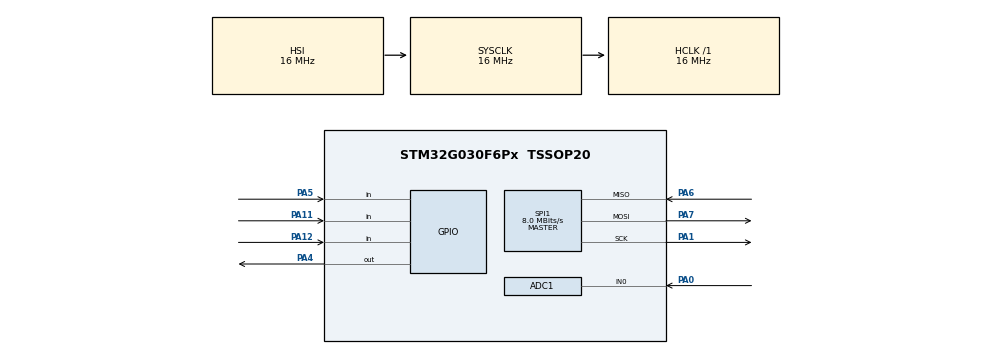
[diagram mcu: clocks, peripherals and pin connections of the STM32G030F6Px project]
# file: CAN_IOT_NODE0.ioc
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ADC1.Channel-0\#ChannelRegularConversion=ADC_CHANNEL_0
ADC1.NbrOfConversion=1
ADC1.NbrOfConversionFlag=1
ADC1.Rank-0\#ChannelRegularConversion=1
ADC1.SamplingTime-0\#ChannelRegularConversion=ADC_SAMPLINGTIME_COMMON_1
ADC1.SelectedChannel=ADC_CHANNEL_0
ADC1.master=1
Mcu.Family=STM32G0
Mcu.Name=STM32G030F6Px
Mcu.Package=TSSOP20
NVIC.ADC1_IRQn=true\:0\:0\:false\:false\:true\:true\:true\:true
NVIC.SPI1_IRQn=true\:0\:0\:false\:false\:true\:true\:true\:true
PA0.Mode=IN0
PA0.Signal=ADC1_IN0
PA1.Mode=Full_Duplex_Master
PA1.Signal=SPI1_SCK
PA11\ [PA9].GPIO_PuPd=GPIO_PULLUP
PA11\ [PA9].Signal=GPIO_Input
PA12\ [PA10].GPIO_PuPd=GPIO_PULLUP
PA12\ [PA10].Signal=GPIO_Input
PA13.Mode=Serial_Wire
PA13.Signal=SYS_SWDIO
PA14-BOOT0.Mode=Serial_Wire
PA14-BOOT0.Signal=SYS_SWCLK
PA14-BOOT0__PA15.StandardMode=true
PA4.Signal=GPIO_Output
PA5.GPIO_PuPd=GPIO_PULLUP
PA5.Signal=GPIO_Input
PA6.Mode=Full_Duplex_Master
PA6.Signal=SPI1_MISO
PA7.Mode=Full_Duplex_Master
PA7.Signal=SPI1_MOSI
PB0__PB1__PB2__PA8.StandardMode=true
PB3__PB4__PB5__PB6.StandardMode=true
PB7__PB8.StandardMode=true
PC14-OSC32_IN\ (PC14)__PB9.StandardMode=true
ProjectManager.HeapSize=0x200
ProjectManager.StackSize=0x400
ProjectManager.TargetToolchain=STM32CubeIDE
RCC.AHBFreq_Value=16000000
RCC.CortexFreq_Value=16000000
RCC.EXTERNAL_CLOCK_VALUE=12288000
RCC.HCLKFreq_Value=16000000
RCC.HSE_VALUE=8000000
RCC.HSI_VALUE=16000000
RCC.LSE_VALUE=32768
RCC.SYSCLKFreq_VALUE=16000000
RCC.VCOOutputFreq_Value=128000000
SPI1.CalculateBaudRate=8.0 MBits/s
SPI1.Direction=SPI_DIRECTION_2LINES
SPI1.Mode=SPI_MODE_MASTER
SPI1.VirtualType=VM_MASTER
board=custom

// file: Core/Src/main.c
/* USER CODE BEGIN Header */
/**
 * Project Name: INDUSTRIAL CAN IOT GATEWAY
 *
 * Controller: STM32G030F6P6
 *
 * Peripherals
 *
 		Dip-Switches->	PA5(A0) PA11(A1) PA12(A2)

 		SPI1--------->	SPI1 for MCP2515:
			 	 	 	SPI1 MOSI: PA7
                        SPI1 MISO: PA6
                        SPI1 CS:   PA4
                        SPI1 SCK:  PA1

        CAN Bus:----->	MCP2515 connected to CAN_H and CAN_L.
 *
 * Team Members: MOOLA SRIKANTH REDDY
 *               MARAM AMULYA
 *               TANDRA VASANTHA LIKITHA
 *               K LAVANYA
 *               NAGIREDDY SAI KRISHNA
 *               K SATHWIK
 *
  ******************************************************************************
  * @file           : main.c
  * @brief          : Main program body
  ******************************************************************************
  * @attention
  *
  * Copyright (c) 2024 STMicroelectronics.
  * All rights reserved.
  *
  * This software is licensed under terms that can be found in the LICENSE file
  * in the root directory of this software component.
  * If no LICENSE file comes with this software, it is provided AS-IS.
  *
  ******************************************************************************
  */
/* USER CODE END Header */
#include "main.h"

/* USER CODE BEGIN Includes */
#include "CANSPI.h"
#include "MCP2515.h"
/* USER CODE END Includes */

/* USER CODE BEGIN PD */

#define LM35_ADC_CHANNEL ADC_CHANNEL_0

/* USER CODE END PD */

ADC_HandleTypeDef hadc1;

SPI_HandleTypeDef hspi1;

/* USER CODE BEGIN PV */
uint8_t NODE_ID = 0;  // Declare NODE_ID as a variable
uCAN_MSG txMessage;     // Transmit CAN message structure
uCAN_MSG rxMessage;     // Receive CAN message structure

/* USER CODE END PV */

void SystemClock_Config(void);
static void MX_GPIO_Init(void);
static void MX_ADC1_Init(void);
static void MX_SPI1_Init(void);
/* USER CODE BEGIN PFP */

/* User-defined function prototypes */
void Node_Init(void);
void Process_CAN_Messages(void);
uint16_t Read_LM35(void);
float Convert_Temperature(uint16_t adcValue);
void Error_Handler(void);
void Read_Node_ID(void);

/* USER CODE END PFP */

int main(void)
{

  /* MCU Configuration--------------------------------------------------------*/

  /* Reset of all peripherals, Initializes the Flash interface and the Systick. */
  HAL_Init();

  /* Configure the system clock */
  SystemClock_Config();

  /* Initialize all configured peripherals */
  MX_GPIO_Init();
  MX_ADC1_Init();
  MX_SPI1_Init();
  /* USER CODE BEGIN 2 */

  //Read_Node_ID();  // Read DIP switch state at startup

  /* Initialize Node */
  Node_Init();

  /* USER CODE END 2 */

  /* Infinite loop */
  /* USER CODE BEGIN WHILE */
  while (1)
  {
	  Read_Node_ID();  // Read DIP switch state at startup

	  /* Process incoming and outgoing CAN messages */
	      Process_CAN_Messages();
    /* USER CODE END WHILE */

  }
}

void SystemClock_Config(void)
{
  RCC_OscInitTypeDef RCC_OscInitStruct = {0};
  RCC_ClkInitTypeDef RCC_ClkInitStruct = {0};

  /** Configure the main internal regulator output voltage
  */
  HAL_PWREx_ControlVoltageScaling(PWR_REGULATOR_VOLTAGE_SCALE1);

  /** Initializes the RCC Oscillators according to the specified parameters
  * in the RCC_OscInitTypeDef structure.
  */
  RCC_OscInitStruct.OscillatorType = RCC_OSCILLATORTYPE_HSI;
  RCC_OscInitStruct.HSIState = RCC_HSI_ON;
  RCC_OscInitStruct.HSIDiv = RCC_HSI_DIV1;
  RCC_OscInitStruct.HSICalibrationValue = RCC_HSICALIBRATION_DEFAULT;
  RCC_OscInitStruct.PLL.PLLState = RCC_PLL_NONE;
  if (HAL_RCC_OscConfig(&RCC_OscInitStruct) != HAL_OK)
  {
    Error_Handler();
  }

  /** Initializes the CPU, AHB and APB buses clocks
  */
  RCC_ClkInitStruct.ClockType = RCC_CLOCKTYPE_HCLK|RCC_CLOCKTYPE_SYSCLK
                              |RCC_CLOCKTYPE_PCLK1;
  RCC_ClkInitStruct.SYSCLKSource = RCC_SYSCLKSOURCE_HSI;
  RCC_ClkInitStruct.AHBCLKDivider = RCC_SYSCLK_DIV1;
  RCC_ClkInitStruct.APB1CLKDivider = RCC_HCLK_DIV1;

  if (HAL_RCC_ClockConfig(&RCC_ClkInitStruct, FLASH_LATENCY_0) != HAL_OK)
  {
    Error_Handler();
  }
}

static void MX_ADC1_Init(void)
{

  ADC_ChannelConfTypeDef sConfig = {0};

  /** Configure the global features of the ADC (Clock, Resolution, Data Alignment and number of conversion)
  */
  hadc1.Instance = ADC1;
  hadc1.Init.ClockPrescaler = ADC_CLOCK_SYNC_PCLK_DIV2;
  hadc1.Init.Resolution = ADC_RESOLUTION_12B;
  hadc1.Init.DataAlign = ADC_DATAALIGN_RIGHT;
  hadc1.Init.ScanConvMode = ADC_SCAN_DISABLE;
  hadc1.Init.EOCSelection = ADC_EOC_SINGLE_CONV;
  hadc1.Init.LowPowerAutoWait = DISABLE;
  hadc1.Init.LowPowerAutoPowerOff = DISABLE;
  hadc1.Init.ContinuousConvMode = DISABLE;
  hadc1.Init.NbrOfConversion = 1;
  hadc1.Init.DiscontinuousConvMode = DISABLE;
  hadc1.Init.ExternalTrigConv = ADC_SOFTWARE_START;
  hadc1.Init.ExternalTrigConvEdge = ADC_EXTERNALTRIGCONVEDGE_NONE;
  hadc1.Init.DMAContinuousRequests = DISABLE;
  hadc1.Init.Overrun = ADC_OVR_DATA_PRESERVED;
  hadc1.Init.SamplingTimeCommon1 = ADC_SAMPLETIME_1CYCLE_5;
  hadc1.Init.SamplingTimeCommon2 = ADC_SAMPLETIME_1CYCLE_5;
  hadc1.Init.OversamplingMode = DISABLE;
  hadc1.Init.TriggerFrequencyMode = ADC_TRIGGER_FREQ_HIGH;
  if (HAL_ADC_Init(&hadc1) != HAL_OK)
  {
    Error_Handler();
  }

  /** Configure Regular Channel
  */
  sConfig.Channel = ADC_CHANNEL_0;
  sConfig.Rank = ADC_REGULAR_RANK_1;
  sConfig.SamplingTime = ADC_SAMPLINGTIME_COMMON_1;
  if (HAL_ADC_ConfigChannel(&hadc1, &sConfig) != HAL_OK)
  {
    Error_Handler();
  }

}

static void MX_SPI1_Init(void)
{

  /* SPI1 parameter configuration*/
  hspi1.Instance = SPI1;
  hspi1.Init.Mode = SPI_MODE_MASTER;
  hspi1.Init.Direction = SPI_DIRECTION_2LINES;
  hspi1.Init.DataSize = SPI_DATASIZE_8BIT;
  hspi1.Init.CLKPolarity = SPI_POLARITY_LOW;
  hspi1.Init.CLKPhase = SPI_PHASE_1EDGE;
  hspi1.Init.NSS = SPI_NSS_SOFT;
  hspi1.Init.BaudRatePrescaler = SPI_BAUDRATEPRESCALER_2;
  hspi1.Init.FirstBit = SPI_FIRSTBIT_MSB;
  hspi1.Init.TIMode = SPI_TIMODE_DISABLE;
  hspi1.Init.CRCCalculation = SPI_CRCCALCULATION_DISABLE;
  hspi1.Init.CRCPolynomial = 7;
  hspi1.Init.CRCLength = SPI_CRC_LENGTH_DATASIZE;
  hspi1.Init.NSSPMode = SPI_NSS_PULSE_ENABLE;
  if (HAL_SPI_Init(&hspi1) != HAL_OK)
  {
    Error_Handler();
  }

}

static void MX_GPIO_Init(void)
{
  GPIO_InitTypeDef GPIO_InitStruct = {0};

  /* GPIO Ports Clock Enable */
  __HAL_RCC_GPIOA_CLK_ENABLE();

  /*Configure GPIO pin Output Level */
  HAL_GPIO_WritePin(GPIOA, GPIO_PIN_4, GPIO_PIN_RESET);

  /*Configure GPIO pin : PA4 */
  GPIO_InitStruct.Pin = GPIO_PIN_4;
  GPIO_InitStruct.Mode = GPIO_MODE_OUTPUT_PP;
  GPIO_InitStruct.Pull = GPIO_NOPULL;
  GPIO_InitStruct.Speed = GPIO_SPEED_FREQ_LOW;
  HAL_GPIO_Init(GPIOA, &GPIO_InitStruct);

  /*Configure GPIO pins : PA5 PA11 PA12 */
  GPIO_InitStruct.Pin = GPIO_PIN_5|GPIO_PIN_11|GPIO_PIN_12;
  GPIO_InitStruct.Mode = GPIO_MODE_INPUT;
  GPIO_InitStruct.Pull = GPIO_PULLUP;
  HAL_GPIO_Init(GPIOA, &GPIO_InitStruct);

}

/* USER CODE BEGIN 4 */
/* Node Initialization */
void Node_Init(void)
{
  if (!CANSPI_Initialize())
  {
    Error_Handler(); // Handle MCP2515 initialization failure
  }
}

/* Process CAN Messages */
void Process_CAN_Messages(void)
{
  if (CANSPI_Receive(&rxMessage))
  {
    if (rxMessage.frame.id == NODE_ID)  // Check if the frame ID matches the Node ID
    {
      // Read LM35 temperature
      uint16_t adcValue = Read_LM35();
      float temperature = Convert_Temperature(adcValue);

      // Prepare and send response frame
      txMessage.frame.id = NODE_ID;
      txMessage.frame.idType = 0;  // Standard CAN ID
      txMessage.frame.dlc = 1;    // Data length: 1 byte
      txMessage.frame.data0 = (uint8_t)temperature;  // Temperature (truncated to integer)

      if (!CANSPI_Transmit(&txMessage)) {
        Error_Handler(); // Handle transmission failure
      }
    }
  }
}

/* Read LM35 Sensor */
uint16_t Read_LM35(void)
{
  HAL_ADC_Start(&hadc1);
  HAL_ADC_PollForConversion(&hadc1, HAL_MAX_DELAY);
  uint16_t adcValue = HAL_ADC_GetValue(&hadc1);
  HAL_ADC_Stop(&hadc1);

  return adcValue;
}

/* Convert ADC Value to Temperature */
float Convert_Temperature(uint16_t adcValue)
{
  // for 3.3V reference voltage and 12-bit ADC resolution
  float voltage = (adcValue * 3.3f) / 4095.0f;  // 12-bit resolution
  float temperature = (voltage * 100.0f);        // LM35: 10mV/°C
  return temperature;
}

/* Read Node ID from DIP Switch */
void Read_Node_ID(void)
{
  // Read DIP switch states
  uint8_t dip1 = !HAL_GPIO_ReadPin(GPIOA, GPIO_PIN_5);  // PA5----->A0 dip switch
  uint8_t dip2 = !HAL_GPIO_ReadPin(GPIOA, GPIO_PIN_11); // PA11 --->A1 dip switch
  uint8_t dip3 = !HAL_GPIO_ReadPin(GPIOA, GPIO_PIN_12); // PA12 --->A2 dip switch

  // Combine DIP switch values into a 3-bit number
  NODE_ID = (dip3 << 2) | (dip2 << 1) | dip1;
}

/* USER CODE END 4 */

void Error_Handler(void)
{
  __disable_irq();
  while (1)
  {
  }
}
